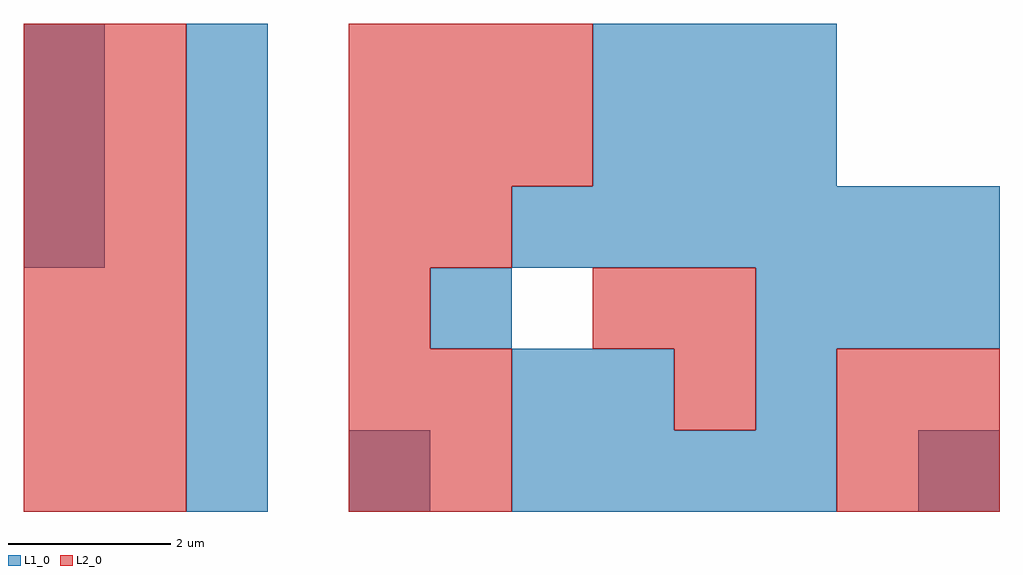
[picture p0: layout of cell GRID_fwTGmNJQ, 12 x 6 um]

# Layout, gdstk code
import gdstk
lib = gdstk.Library(unit=1e-6, precision=1e-09)
def R(c, l, rs):  # rectangles x0, y0, x1, y1
    for r in rs: c.add(gdstk.rectangle(r[:2], r[2:], *l))
L1_0 = (1, 0)
L2_0 = (2, 0)

layer2_fwtgmnnq = lib.new_cell('Layer2_fwTGmNNQ')
R(layer2_fwtgmnnq, L2_0, [(0,0,1,1)])

layer1_fwtgmnlq = lib.new_cell('Layer1_fwTGmNLQ')
R(layer1_fwtgmnlq, L1_0, [(0,0,1,1)])

grid_fwtgmnjq = lib.new_cell('GRID_fwTGmNJQ')
grid_fwtgmnjq.add(gdstk.Reference(layer2_fwtgmnnq, (0,5)))
grid_fwtgmnjq.add(gdstk.Reference(layer1_fwtgmnlq, (0,5)))
grid_fwtgmnjq.add(gdstk.Reference(layer2_fwtgmnnq, (1,5)))
grid_fwtgmnjq.add(gdstk.Reference(layer1_fwtgmnlq, (2,5)))
grid_fwtgmnjq.add(gdstk.Reference(layer2_fwtgmnnq, (4,5)))
grid_fwtgmnjq.add(gdstk.Reference(layer2_fwtgmnnq, (5,5)))
grid_fwtgmnjq.add(gdstk.Reference(layer2_fwtgmnnq, (6,5)))
grid_fwtgmnjq.add(gdstk.Reference(layer1_fwtgmnlq, (7,5)))
grid_fwtgmnjq.add(gdstk.Reference(layer1_fwtgmnlq, (8,5)))
grid_fwtgmnjq.add(gdstk.Reference(layer1_fwtgmnlq, (9,5)))
grid_fwtgmnjq.add(gdstk.Reference(layer2_fwtgmnnq, (0,4)))
grid_fwtgmnjq.add(gdstk.Reference(layer1_fwtgmnlq, (0,4)))
grid_fwtgmnjq.add(gdstk.Reference(layer2_fwtgmnnq, (1,4)))
grid_fwtgmnjq.add(gdstk.Reference(layer1_fwtgmnlq, (2,4)))
grid_fwtgmnjq.add(gdstk.Reference(layer2_fwtgmnnq, (4,4)))
grid_fwtgmnjq.add(gdstk.Reference(layer2_fwtgmnnq, (5,4)))
grid_fwtgmnjq.add(gdstk.Reference(layer2_fwtgmnnq, (6,4)))
grid_fwtgmnjq.add(gdstk.Reference(layer1_fwtgmnlq, (7,4)))
grid_fwtgmnjq.add(gdstk.Reference(layer1_fwtgmnlq, (8,4)))
grid_fwtgmnjq.add(gdstk.Reference(layer1_fwtgmnlq, (9,4)))
grid_fwtgmnjq.add(gdstk.Reference(layer2_fwtgmnnq, (0,3)))
grid_fwtgmnjq.add(gdstk.Reference(layer1_fwtgmnlq, (0,3)))
grid_fwtgmnjq.add(gdstk.Reference(layer2_fwtgmnnq, (1,3)))
grid_fwtgmnjq.add(gdstk.Reference(layer1_fwtgmnlq, (2,3)))
grid_fwtgmnjq.add(gdstk.Reference(layer2_fwtgmnnq, (4,3)))
grid_fwtgmnjq.add(gdstk.Reference(layer2_fwtgmnnq, (5,3)))
grid_fwtgmnjq.add(gdstk.Reference(layer1_fwtgmnlq, (6,3)))
grid_fwtgmnjq.add(gdstk.Reference(layer1_fwtgmnlq, (7,3)))
grid_fwtgmnjq.add(gdstk.Reference(layer1_fwtgmnlq, (8,3)))
grid_fwtgmnjq.add(gdstk.Reference(layer1_fwtgmnlq, (9,3)))
grid_fwtgmnjq.add(gdstk.Reference(layer1_fwtgmnlq, (10,3)))
grid_fwtgmnjq.add(gdstk.Reference(layer1_fwtgmnlq, (11,3)))
grid_fwtgmnjq.add(gdstk.Reference(layer2_fwtgmnnq, (0,2)))
grid_fwtgmnjq.add(gdstk.Reference(layer2_fwtgmnnq, (1,2)))
grid_fwtgmnjq.add(gdstk.Reference(layer1_fwtgmnlq, (2,2)))
grid_fwtgmnjq.add(gdstk.Reference(layer2_fwtgmnnq, (4,2)))
grid_fwtgmnjq.add(gdstk.Reference(layer1_fwtgmnlq, (5,2)))
grid_fwtgmnjq.add(gdstk.Reference(layer2_fwtgmnnq, (7,2)))
grid_fwtgmnjq.add(gdstk.Reference(layer2_fwtgmnnq, (8,2)))
grid_fwtgmnjq.add(gdstk.Reference(layer1_fwtgmnlq, (9,2)))
grid_fwtgmnjq.add(gdstk.Reference(layer1_fwtgmnlq, (10,2)))
grid_fwtgmnjq.add(gdstk.Reference(layer1_fwtgmnlq, (11,2)))
grid_fwtgmnjq.add(gdstk.Reference(layer2_fwtgmnnq, (0,1)))
grid_fwtgmnjq.add(gdstk.Reference(layer2_fwtgmnnq, (1,1)))
grid_fwtgmnjq.add(gdstk.Reference(layer1_fwtgmnlq, (2,1)))
grid_fwtgmnjq.add(gdstk.Reference(layer2_fwtgmnnq, (4,1)))
grid_fwtgmnjq.add(gdstk.Reference(layer2_fwtgmnnq, (5,1)))
grid_fwtgmnjq.add(gdstk.Reference(layer1_fwtgmnlq, (6,1)))
grid_fwtgmnjq.add(gdstk.Reference(layer1_fwtgmnlq, (7,1)))
grid_fwtgmnjq.add(gdstk.Reference(layer2_fwtgmnnq, (8,1)))
grid_fwtgmnjq.add(gdstk.Reference(layer1_fwtgmnlq, (9,1)))
grid_fwtgmnjq.add(gdstk.Reference(layer2_fwtgmnnq, (10,1)))
grid_fwtgmnjq.add(gdstk.Reference(layer2_fwtgmnnq, (11,1)))
grid_fwtgmnjq.add(gdstk.Reference(layer2_fwtgmnnq, (0,0)))
grid_fwtgmnjq.add(gdstk.Reference(layer2_fwtgmnnq, (1,0)))
grid_fwtgmnjq.add(gdstk.Reference(layer1_fwtgmnlq, (2,0)))
grid_fwtgmnjq.add(gdstk.Reference(layer2_fwtgmnnq, (4,0)))
grid_fwtgmnjq.add(gdstk.Reference(layer1_fwtgmnlq, (4,0)))
grid_fwtgmnjq.add(gdstk.Reference(layer2_fwtgmnnq, (5,0)))
grid_fwtgmnjq.add(gdstk.Reference(layer1_fwtgmnlq, (6,0)))
grid_fwtgmnjq.add(gdstk.Reference(layer1_fwtgmnlq, (7,0)))
grid_fwtgmnjq.add(gdstk.Reference(layer1_fwtgmnlq, (8,0)))
grid_fwtgmnjq.add(gdstk.Reference(layer1_fwtgmnlq, (9,0)))
grid_fwtgmnjq.add(gdstk.Reference(layer2_fwtgmnnq, (10,0)))
grid_fwtgmnjq.add(gdstk.Reference(layer2_fwtgmnnq, (11,0)))
grid_fwtgmnjq.add(gdstk.Reference(layer1_fwtgmnlq, (11,0)))

lib.write_gds('GRID_fwTGmNJQ.gds')
